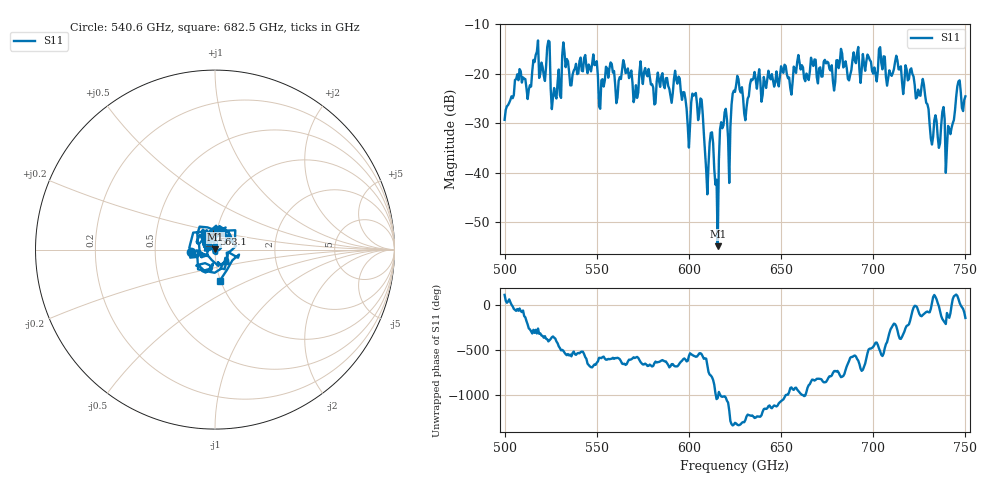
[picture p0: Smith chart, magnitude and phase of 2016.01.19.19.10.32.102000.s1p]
!Created with skrf (http://scikit-rf.org).
# GHz S RI R 50.0
!freq ReS11 ImS11
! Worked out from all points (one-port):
!   401 points, 500 GHz to 750 GHz, reference 50 ohm
!   lowest |S11| = -54.8 dB at 615.6 GHz (marker M1), VSWR 1.00, Z = 50.1 + j0.127 ohm
!   |S11| at or under -10 dB: start of sweep to end of sweep
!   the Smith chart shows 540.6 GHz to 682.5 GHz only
!   S11 on the Smith chart (normalised r, x): 540.6 GHz: 0.77, -0.02; 563.1 GHz: 0.97, +0.17; 682.5 GHz: 0.99, -0.36
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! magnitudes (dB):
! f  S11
! 500 GHz  -29.3
! 507.5 GHz  -21.3
! 513.1 GHz  -23.2
! 516.9 GHz  -16.2
! 523.8 GHz  -13.4
! 526.9 GHz  -22.9
! 531.2 GHz  -16.3
! 540.6 GHz  -17.5
! 562.5 GHz  -20.7
! 563.1 GHz  -21.1
! 593.8 GHz  -22.0
! 599.4 GHz  -30.6
! 602.5 GHz  -24.4
! 606.9 GHz  -25.2
! 609.4 GHz  -39.5
! 612.5 GHz  -31.8
! 615.6 GHz  -54.8
! 618.1 GHz  -31.0
! 621.9 GHz  -42.1
! 625 GHz  -23.7
! 630.6 GHz  -29.4
! 656.2 GHz  -21.7
! 682.5 GHz  -15.0
! 687.5 GHz  -20.3
! 718.8 GHz  -21.4
! 740.6 GHz  -30.5
! 746.2 GHz  -21.6
! 750 GHz  -24.6
